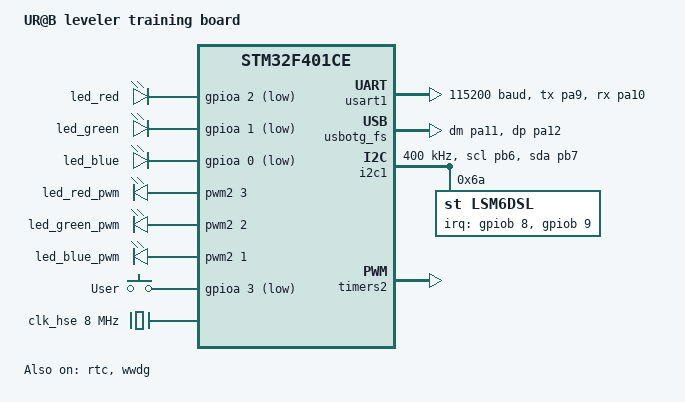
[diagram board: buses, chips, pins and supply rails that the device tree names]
/dts-v1/;

#include <st/f4/stm32f401Xe.dtsi>
#include <st/f4/stm32f401c(d-e)ux-pinctrl.dtsi>

/ {
    model = "UR@B leveler training board";
    compatible = "st,stm32f401ce", "leveler";

    chosen {
        zephyr,console = &usart1;
        zephyr,sram = &sram0;
        zephyr,flash = &flash0;
        zephyr,code-partition = &slot0_partition;
    };

    aliases {
        led0 = &led_red;
        led1 = &led_green;
        led2 = &led_blue;
        sw0 = &user_button;
        pwm-led0 = &led_red_pwm;
        red-pwm-led = &led_red_pwm;
        green-pwm-led = &led_green_pwm;
        blue-pwm-led = &led_blue_pwm;
    };

    leds {
        compatible = "gpio-leds";
        led_red: led_0 {
            gpios = <&gpioa 2 GPIO_ACTIVE_LOW>;
        };
        led_green: led_1 {
            gpios = <&gpioa 1 GPIO_ACTIVE_LOW>;
        };
        led_blue: led_2 {
            gpios = <&gpioa 0 GPIO_ACTIVE_LOW>;
        };
    };

    pwmleds {
        compatible = "pwm-leds";
        led_red_pwm: led_red_pwm {
            pwms = <&pwm2 3 0 PWM_POLARITY_INVERTED>;
        };
        led_green_pwm: led_green_pwm {
            pwms = <&pwm2 2 0 PWM_POLARITY_INVERTED>;
        };
        led_blue_pwm: led_blue_pwm {
            pwms = <&pwm2 1 0 PWM_POLARITY_INVERTED>;
        };
    };

    gpio_keys {
        compatible = "gpio-keys";
        user_button: button {
            gpios = <&gpioa 3 (GPIO_ACTIVE_LOW | GPIO_PULL_UP)>;
            label = "User";
        };
    };
};

&clk_hse {
    clock-frequency = <DT_FREQ_M(8)>;
    status = "okay";
};

&pll {
    div-m = <4>;
    mul-n = <72>;
    div-p = <2>;
    div-q = <3>;
    clocks = <&clk_hse>;
    status = "okay";
};

&rcc {
    clocks = <&pll>;
    clock-frequency = <DT_FREQ_M(72)>;
    ahb-prescaler = <1>;
    apb1-prescaler = <2>;
    apb2-prescaler = <1>;
};

&flash0 {
    partitions {
        compatible = "fixed-partitions";
        #address-cells = <1>;
        #size-cells = <1>;
        boot_partition: partition@0 {
            label = "mcuboot";
            reg = <0x00000000 0x00010000>;
            read-only;
        };
        slot0_partition: partition@20000 {
            label = "image-0";
            reg = <0x00020000 0x00020000>;
        };
        slot1_partition: partition@40000 {
            label = "image-1";
            reg = <0x00040000 0x00020000>;
        };
        scratch_partition: partition@60000 {
            label = "image-scratch";
            reg = <0x00060000 0x00020000>;
        };
    };
};

&rtc {
    status = "okay";
};

&wwdg {
    status = "okay";
};

&usart1 {
    status = "okay";
    pinctrl-0 = <&usart1_tx_pa9 &usart1_rx_pa10>;
    pinctrl-names = "default";
    current-speed = <115200>;
};

zephyr_udc0: &usbotg_fs {
    status = "okay";
    pinctrl-0 = <&usb_otg_fs_dm_pa11 &usb_otg_fs_dp_pa12>;
    pinctrl-names = "default";
};

&i2c1 {
    status = "okay";
    pinctrl-0 = <&i2c1_scl_pb6 &i2c1_sda_pb7>;
    pinctrl-names = "default";
    clock-frequency = <I2C_BITRATE_FAST>;

    lsm6dsl@6a {
        compatible = "st,lsm6dsl";
        reg = <0x6a>;
        irq-gpios = <&gpiob 8 GPIO_ACTIVE_HIGH>, <&gpiob 9 GPIO_ACTIVE_HIGH>;
    };
};

&timers2 {
    pwm2: pwm {
        status = "okay";
        pinctrl-0 = <&tim2_ch1_pa0 &tim2_ch2_pa1 &tim2_ch3_pa2>;
        pinctrl-names = "default";
    };

    status = "okay";
};
